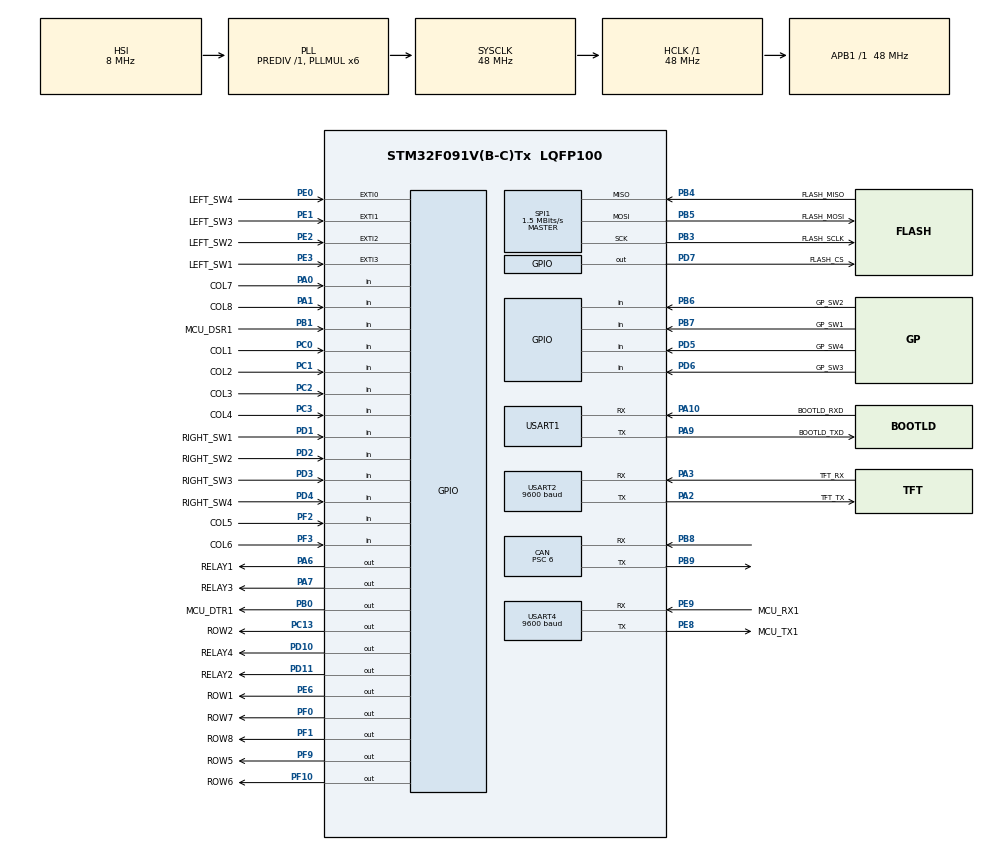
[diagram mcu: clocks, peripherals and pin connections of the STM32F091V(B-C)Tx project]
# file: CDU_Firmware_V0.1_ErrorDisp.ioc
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CAN.BS1=CAN_BS1_13TQ
CAN.BS2=CAN_BS2_2TQ
CAN.CalculateBaudRate=500000
CAN.CalculateTimeBit=2000
CAN.CalculateTimeQuantum=125.0
CAN.Prescaler=6
FREERTOS.Tasks01=defaultTask,24,128,StartDefaultTask,Default,NULL,Dynamic,NULL,NULL
FREERTOS.configTOTAL_HEAP_SIZE=15000
FREERTOS.configUSE_NEWLIB_REENTRANT=1
Mcu.Family=STM32F0
Mcu.Name=STM32F091V(B-C)Tx
Mcu.Package=LQFP100
NVIC.CEC_CAN_IRQn=true\:3\:0\:false\:false\:true\:true\:true\:true\:true
NVIC.EXTI0_1_IRQn=true\:2\:0\:true\:false\:true\:false\:true\:true\:true
NVIC.EXTI2_3_IRQn=true\:2\:0\:true\:false\:true\:false\:true\:true\:true
NVIC.TIM16_IRQn=true\:3\:0\:false\:false\:true\:true\:true\:true\:true
NVIC.TIM17_IRQn=true\:3\:0\:false\:false\:true\:true\:true\:true\:true
NVIC.TIM6_DAC_IRQn=true\:3\:0\:true\:false\:true\:false\:false\:true\:true
NVIC.TimeBase=TIM6_DAC_IRQn
NVIC.TimeBaseIP=TIM6
NVIC.USART3_8_IRQn=true\:3\:0\:true\:false\:true\:true\:true\:true\:true
PA0.GPIO_Label=COL7
PA0.Signal=GPIO_Input
PA1.GPIO_Label=COL8
PA1.Signal=GPIO_Input
PA10.GPIO_Label=BOOTLD_RXD
PA10.Mode=Asynchronous
PA10.Signal=USART1_RX
PA2.GPIO_Label=TFT_TX
PA2.Mode=Asynchronous
PA2.Signal=USART2_TX
PA3.GPIO_Label=TFT_RX
PA3.Mode=Asynchronous
PA3.Signal=USART2_RX
PA6.GPIO_Label=RELAY1
PA6.Signal=GPIO_Output
PA7.GPIO_Label=RELAY3
PA7.Signal=GPIO_Output
PA9.GPIO_Label=BOOTLD_TXD
PA9.Mode=Asynchronous
PA9.Signal=USART1_TX
PB0.GPIO_Label=MCU_DTR1
PB0.Signal=GPIO_Output
PB1.GPIO_Label=MCU_DSR1
PB1.Signal=GPIO_Input
PB3.GPIO_Label=FLASH_SCLK
PB3.Mode=Full_Duplex_Master
PB3.Signal=SPI1_SCK
PB4.GPIO_Label=FLASH_MISO
PB4.Mode=Full_Duplex_Master
PB4.Signal=SPI1_MISO
PB5.GPIO_Label=FLASH_MOSI
PB5.Mode=Full_Duplex_Master
PB5.Signal=SPI1_MOSI
PB6.GPIO_Label=GP_SW2
PB6.Signal=GPIO_Input
PB7.GPIO_Label=GP_SW1
PB7.Signal=GPIO_Input
PB8.Mode=CAN_Activate
PB8.Signal=CAN_RX
PB9.Mode=CAN_Activate
PB9.Signal=CAN_TX
PC0.GPIO_Label=COL1
PC0.Signal=GPIO_Input
PC1.GPIO_Label=COL2
PC1.Signal=GPIO_Input
PC13.GPIO_Label=ROW2
PC13.Signal=GPIO_Output
PC14OSC32_IN.GPIO_Label=ROW3
PC14OSC32_IN.Signal=GPIO_Output
PC15OSC32_OUT.GPIO_Label=ROW4
PC15OSC32_OUT.Signal=GPIO_Output
PC2.GPIO_Label=COL3
PC2.Signal=GPIO_Input
PC3.GPIO_Label=COL4
PC3.Signal=GPIO_Input
PD1.GPIO_Label=RIGHT_SW1
PD1.Signal=GPIO_Input
PD10.GPIO_Label=RELAY4
PD10.Signal=GPIO_Output
PD11.GPIO_Label=RELAY2
PD11.Signal=GPIO_Output
PD2.GPIO_Label=RIGHT_SW2
PD2.Signal=GPIO_Input
PD3.GPIO_Label=RIGHT_SW3
PD3.Signal=GPIO_Input
PD4.GPIO_Label=RIGHT_SW4
PD4.Signal=GPIO_Input
PD5.GPIO_Label=GP_SW4
PD5.Signal=GPIO_Input
PD6.GPIO_Label=GP_SW3
PD6.Signal=GPIO_Input
PD7.GPIO_Label=FLASH_CS
PD7.GPIO_Speed=GPIO_SPEED_FREQ_HIGH
PD7.PinState=GPIO_PIN_SET
PD7.Signal=GPIO_Output
PE0.GPIO_Label=LEFT_SW4
PE0.Signal=GPXTI0
PE1.GPIO_Label=LEFT_SW3
PE1.Signal=GPXTI1
PE2.GPIO_Label=LEFT_SW2
PE2.Signal=GPXTI2
PE3.GPIO_Label=LEFT_SW1
PE3.Signal=GPXTI3
PE6.GPIO_Label=ROW1
PE6.Signal=GPIO_Output
PE8.GPIO_Label=MCU_TX1
PE8.Mode=Asynchronous
PE8.Signal=USART4_TX
PE9.GPIO_Label=MCU_RX1
PE9.Mode=Asynchronous
PE9.Signal=USART4_RX
PF0-OSC_IN.GPIO_Label=ROW7
PF0-OSC_IN.Signal=GPIO_Output
PF1-OSC_OUT.GPIO_Label=ROW8
PF1-OSC_OUT.Signal=GPIO_Output
PF10.GPIO_Label=ROW6
PF10.Signal=GPIO_Output
PF2.GPIO_Label=COL5
PF2.Signal=GPIO_Input
PF3.GPIO_Label=COL6
PF3.Signal=GPIO_Input
PF9.GPIO_Label=ROW5
PF9.Signal=GPIO_Output
ProjectManager.HeapSize=0x200
ProjectManager.StackSize=0x400
ProjectManager.TargetToolchain=STM32CubeIDE
RCC.AHBFreq_Value=48000000
RCC.APB1Freq_Value=48000000
RCC.APB1TimFreq_Value=48000000
RCC.HCLKFreq_Value=48000000
RCC.PLLMUL=RCC_PLL_MUL6
RCC.SYSCLKFreq_VALUE=48000000
RCC.SYSCLKSource=RCC_SYSCLKSOURCE_PLLCLK
RCC.Usart1ClockSelection=RCC_USART1CLKSOURCE_HSI
RCC.Usart2ClockSelection=RCC_USART2CLKSOURCE_HSI
SPI1.BaudRatePrescaler=SPI_BAUDRATEPRESCALER_32
SPI1.CalculateBaudRate=1.5 MBits/s
SPI1.DataSize=SPI_DATASIZE_8BIT
SPI1.Direction=SPI_DIRECTION_2LINES
SPI1.Mode=SPI_MODE_MASTER
SPI1.VirtualType=VM_MASTER
TIM16.Period=29999
TIM16.Prescaler=47999
TIM17.Period=499
TIM17.Prescaler=47999
USART1.VirtualMode-Asynchronous=VM_ASYNC
USART2.BaudRate=9600
USART2.VirtualMode-Asynchronous=VM_ASYNC
USART4.BaudRate=9600
USART4.VirtualMode-Asynchronous=VM_ASYNC
VP_FREERTOS_VS_CMSIS_V2.Mode=CMSIS_V2
VP_SYS_VS_tim6.Mode=TIM6
VP_TIM16_VS_ClockSourceINT.Mode=Enable_Timer
VP_TIM17_VS_ClockSourceINT.Mode=Enable_Timer
board=custom

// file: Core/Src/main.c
/* USER CODE BEGIN Header */
/**
  ******************************************************************************
  * @file           : main.c
  * @brief          : Main program body
  ******************************************************************************
  * @attention
  *
  * Copyright (c) 2024 STMicroelectronics.
  * All rights reserved.
  *
  * This software is licensed under terms that can be found in the LICENSE file
  * in the root directory of this software component.
  * If no LICENSE file comes with this software, it is provided AS-IS.
  *
  ******************************************************************************
  */
#define FREERTOS
/* USER CODE END Header */
#include "main.h"
#include "cmsis_os.h"
#include "can.h"
#include "spi.h"
#include "tim.h"
#include "usart.h"
#include "gpio.h"

/* USER CODE BEGIN Includes */
#include "timer.h"
/* USER CODE END Includes */

void SystemClock_Config(void);
void MX_FREERTOS_Init(void);

int main(void)
{

  /* MCU Configuration--------------------------------------------------------*/

  /* Reset of all peripherals, Initializes the Flash interface and the Systick. */
  HAL_Init();

  /* Configure the system clock */
  SystemClock_Config();

  /* Initialize all configured peripherals */
  MX_GPIO_Init();
  MX_SPI1_Init();
  MX_USART1_UART_Init();
  MX_USART2_UART_Init();
  MX_USART4_UART_Init();
  MX_TIM16_Init();
  MX_TIM17_Init();
  MX_CAN_Init();

//  CAN_Filter_Config();
//
//  if(HAL_CAN_ActivateNotification(&hcan,CAN_IT_RX_FIFO0_MSG_PENDING)!=HAL_OK)
//  {
//	  Error_Handler();
//  }
//
//  if(HAL_CAN_Start(&hcan)!=HAL_OK)
//  {
//	  Error_Handler();
//  }

  /* USER CODE BEGIN 2 */
#ifndef FREERTOS
  /* USER CODE END 2 */

  /* Init scheduler */
  osKernelInitialize();

  /* Call init function for freertos objects (in cmsis_os2.c) */
  MX_FREERTOS_Init();

  /* Start scheduler */
  osKernelStart();

  /* We should never get here as control is now taken by the scheduler */

  /* Infinite loop */
  /* USER CODE BEGIN WHILE */
#else
  /* Call init function for freertos objects (in cmsis_os2.c) */
  MX_FREERTOS_Init();
#endif
  while (1)
  {
    /* USER CODE END WHILE */

  }
}

void SystemClock_Config(void)
{
  RCC_OscInitTypeDef RCC_OscInitStruct = {0};
  RCC_ClkInitTypeDef RCC_ClkInitStruct = {0};
  RCC_PeriphCLKInitTypeDef PeriphClkInit = {0};

  /** Initializes the RCC Oscillators according to the specified parameters
  * in the RCC_OscInitTypeDef structure.
  */
  RCC_OscInitStruct.OscillatorType = RCC_OSCILLATORTYPE_HSI;
  RCC_OscInitStruct.HSIState = RCC_HSI_ON;
  RCC_OscInitStruct.HSICalibrationValue = RCC_HSICALIBRATION_DEFAULT;
  RCC_OscInitStruct.PLL.PLLState = RCC_PLL_ON;
  RCC_OscInitStruct.PLL.PLLSource = RCC_PLLSOURCE_HSI;
  RCC_OscInitStruct.PLL.PLLMUL = RCC_PLL_MUL6;
  RCC_OscInitStruct.PLL.PREDIV = RCC_PREDIV_DIV1;
  if (HAL_RCC_OscConfig(&RCC_OscInitStruct) != HAL_OK)
  {
    Error_Handler();
  }

  /** Initializes the CPU, AHB and APB buses clocks
  */
  RCC_ClkInitStruct.ClockType = RCC_CLOCKTYPE_HCLK|RCC_CLOCKTYPE_SYSCLK
                              |RCC_CLOCKTYPE_PCLK1;
  RCC_ClkInitStruct.SYSCLKSource = RCC_SYSCLKSOURCE_PLLCLK;
  RCC_ClkInitStruct.AHBCLKDivider = RCC_SYSCLK_DIV1;
  RCC_ClkInitStruct.APB1CLKDivider = RCC_HCLK_DIV1;

  if (HAL_RCC_ClockConfig(&RCC_ClkInitStruct, FLASH_LATENCY_1) != HAL_OK)
  {
    Error_Handler();
  }
  PeriphClkInit.PeriphClockSelection = RCC_PERIPHCLK_USART1|RCC_PERIPHCLK_USART2;
  PeriphClkInit.Usart1ClockSelection = RCC_USART1CLKSOURCE_HSI;
  PeriphClkInit.Usart2ClockSelection = RCC_USART2CLKSOURCE_HSI;
  if (HAL_RCCEx_PeriphCLKConfig(&PeriphClkInit) != HAL_OK)
  {
    Error_Handler();
  }
}

void HAL_TIM_PeriodElapsedCallback(TIM_HandleTypeDef *htim)
{
  if (htim->Instance == TIM6) {
    HAL_IncTick();
  }
  /* USER CODE BEGIN Callback 1 */
  if (htim->Instance == TIM16)
  {
	  time_up_notify_tft();
  }
  /* USER CODE END Callback 1 */
}

void Error_Handler(void)
{
  __disable_irq();
  while (1)
  {
  }
}

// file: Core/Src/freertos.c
/* USER CODE BEGIN Header */
/**
  ******************************************************************************
  * File Name          : freertos.c
  * Description        : Code for freertos applications
  ******************************************************************************
  * @attention
  *
  * Copyright (c) 2024 STMicroelectronics.
  * All rights reserved.
  *
  * This software is licensed under terms that can be found in the LICENSE file
  * in the root directory of this software component.
  * If no LICENSE file comes with this software, it is provided AS-IS.
  *
  ******************************************************************************
  */
#define FREERTOS
#ifndef FREERTOS
/* USER CODE END Header */

#include "FreeRTOS.h"
#include "task.h"
#include "main.h"
#include "cmsis_os.h"

/* Definitions for defaultTask */
osThreadId_t defaultTaskHandle;
const osThreadAttr_t defaultTask_attributes = {
  .name = "defaultTask",
  .stack_size = 128 * 4,
  .priority = (osPriority_t) osPriorityNormal,
};

void StartDefaultTask(void *argument);

void MX_FREERTOS_Init(void); /* (MISRA C 2004 rule 8.1) */

void MX_FREERTOS_Init(void) {

  /* Create the thread(s) */
  /* creation of defaultTask */
  defaultTaskHandle = osThreadNew(StartDefaultTask, NULL, &defaultTask_attributes);

}

void StartDefaultTask(void *argument)
{
  for(;;)
  {
    osDelay(1);
  }
}

/* USER CODE BEGIN Application */
#else

/* Includes ------------------------------------------------------------------*/
#include "FreeRTOS.h"
#include "task.h"
#include "queue.h"
#include "semphr.h"
#include "main.h"

#include "TFT_LCD.h"
#include "keyboard.h"
#include "debug_console.h"
#include "serial_1.h"
#include "Comm_bus.h"
#include "data_handler.h"

#define RX_MESSAGE_LENGTH 25
#define QUEUE_LENGTH 6

// Task Size
#define KEYBOARD_STACK_SIZE	256
#define SERIAL1_STACK_SIZE	512
#define COMM_BUS_STACK_SIZE 256
//#define SERIAL2_STACK_SIZE	256
//#define SERIAL3_STACK_SIZE	256
//#define SERIAL4_STACK_SIZE	256
#define TFT_LCD_STACK_SIZE	2048
#define RIGHT_P_STACK_SIZE	256
#if DEBUG_CONSOLE
#define DEBUG_STACK_SIZE	1024
#endif

// Define the queue handle
xQueueHandle xKeyQueue = NULL;
xQueueHandle xuartTXQueue = NULL;
xQueueHandle xuartRXQueue = NULL;
xQueueHandle xcanRXQueue = NULL;
#if DEBUG_CONSOLE
xQueueHandle xDebugQueue = NULL;
#endif

//SemaphoreHandle_t uartRXSemaphoreHandle;

SemaphoreHandle_t xFlashMutex;

/*
 * Function: create_cdu_tasks
 * Arguments: None
 *
 * Description:
 * This function creates various tasks for handling different components of the CDU.
 * It uses the FreeRTOS xTaskCreate function to create tasks for the keyboard, right panel,
 * serial communication with 1553, and TFT LCD display. Additionally, it conditionally creates
 * a debug console task if DEBUG_CONSOLE is enabled.
 *
 * The created tasks include:
 * - KeyBoard Matrix task for handling keyboard inputs.
 * - RIGHT PANEL task for handling right panel key inputs.
 * - Serial 1553 task for serial communication.
 * - TFT_LCD task for display operations.
 * - Debug Console task for debugging purposes (conditionally created).
 */
void create_cdu_tasks(void)
{
//	// Key Board task for handling Keyboard inputs
//	xTaskCreate(keyboard_thread, "Keyboard Matrix", KEYBOARD_STACK_SIZE, (void *)1, 5, NULL);
//	// Right Panel task for handling the Right panel key inputs
//	xTaskCreate(right_panel_thread, "RIGHT PANEL", RIGHT_P_STACK_SIZE,  (void *)1, 5, NULL);
//	// Serial Task to 1553
//	xTaskCreate(serial_1553_thread, "Serial 1553", SERIAL1_STACK_SIZE, (void *) 1, 5, NULL);
//	// A display task
//	xTaskCreate(tft_lcd_thread, "TFT_LCD", TFT_LCD_STACK_SIZE, (void *)1, 5, NULL);

	// Key Board task for handling Keyboard inputs (High priority)
	xTaskCreate(keyboard_thread, "Keyboard Matrix", KEYBOARD_STACK_SIZE, (void *)1, 4, NULL);

	// Right Panel task for handling the Right panel key inputs (Medium-high priority)
	xTaskCreate(right_panel_thread, "RIGHT PANEL", RIGHT_P_STACK_SIZE, (void *)1, 3, NULL);

	// Serial Task to 1553 (Medium priority)
	xTaskCreate(serial_1553_thread, "Serial 1553", SERIAL1_STACK_SIZE, (void *) 1, 2, NULL);

	// A display task (Low priority)
	xTaskCreate(tft_lcd_thread, "TFT_LCD", TFT_LCD_STACK_SIZE, (void *)1, 0, NULL);

	// Can Thread for Comm Bus (Medium priority)
	if(xTaskCreate(Comm_bus_thread, "COMM BUS CAN", COMM_BUS_STACK_SIZE, (void *) 1, 1, NULL) != pdPASS)
		while(1);

#if DEBUG_CONSOLE
	xTaskCreate(debug_console_thread, "Debug Console", DEBUG_STACK_SIZE, (void *)1, 5, NULL);
#endif
}

/*
 * Function: create_cdu_queus
 * Arguments: None
 *
 * Description:
 * This function creates various FreeRTOS queues for handling different components of the CDU.
 * It initializes queues for the keyboard keys, UART transmission indication, and the debug console.
 * It also includes conditional debug prints to check if the queues were created successfully.
 *
 * The created queues include:
 * - xKeyQueue: Queue for the keyboard keys.
 * - xuartTXQueue: Queue for UART transmission indication.
 * - xDebugQueue: Queue for debug messages (conditionally created if DEBUG_CONSOLE is enabled).
 */
void create_cdu_queus(void)
{
	// a queue for the keyboard keys
    xKeyQueue = xQueueCreate(QUEUE_LENGTH, sizeof(char));
#if DEBUG_CONSOLE
	if(xKeyQueue == NULL)
	{
		debug_print("Error: Failed to Create Queue. xKeyQueue \r\n");
	}
#endif
	// serial Transmit queue
	xuartTXQueue = xQueueCreate(QUEUE_LENGTH, sizeof(Identifier));
#if DEBUG_CONSOLE
	if(xuartTXQueue == NULL)
	{
		debug_print("Error: Failed to Create xuartTXQueue. \r\n");
	}
#endif
	// serial Reception queue
	xuartRXQueue = xQueueCreate(QUEUE_LENGTH, RX_MESSAGE_LENGTH + 1);
#if DEBUG_CONSOLE
	if(xuartRXQueue == NULL)
	{
		debug_print("Error: Failed to Create xuartTXQueue. \r\n");
	}
#endif
#if DEBUG_CONSOLE
	xDebugQueue = xQueueCreate(QUEUE_LENGTH, sizeof(char[100]));
	if(xDebugQueue == NULL)
	{
		debug_print("Error: Failed to Create Queue xDebugQueue. \r\n");
	}
#endif

	// CAN Reception queue
	xcanRXQueue = xQueueCreate(QUEUE_LENGTH, CAN_MESSAGE_LENGTH + 1);

}

/*
 * Function: creat_cdu_semaphore
 * Arguments: None
 *
 * Description:
 * This function creates a semaphore for receive indication in the CDU.
 * It initializes the semaphore using `xSemaphoreCreateBinary`. If the
 * creation fails, a debug print statement is executed to indicate the failure
 * when the DEBUG_CONSOLE flag is enabled.
 *
 * - uartRXSemaphoreHandle: Handle to the created binary semaphore.
 */
void creat_cdu_semaphore(void)
{
	//semaphore for Receive indication
//	uartRXSemaphoreHandle = xSemaphoreCreateBinary();
//#if DEBUG_CONSOLE
//	if(uartRXSemaphoreHandle == NULL)
//	{
//		debug_print("Error: Failed to Create uartRXSemaphoreHandle. \r\n");
//	}
//#endif
	// Semaphore for Flash Synchronization
	xFlashMutex = xSemaphoreCreateMutex();
#if DEBUG_CONSOLE
	if(xFlashMutex == NULL)
	{
		debug_print("Error: Failed to Create xFlashMutex. \r\n");
	}
#endif

}

/*
 * Function: MX_FREERTOS_Init
 * Arguments: None
 *
 * Description:
 * This function initializes the FreeRTOS environment for the CDU. It creates
 * the necessary tasks, queues, and semaphores required for operation. After
 * setting up the tasks, queues, and semaphores, it starts the FreeRTOS scheduler.
 *
 * Steps:
 * - Create all the tasks for CDU by calling create_cdu_tasks.
 * - Create the queues for user inputs like the keyboard by calling create_cdu_queus.
 * - Create the semaphores for serial receive and transmission by calling creat_cdu_semaphore.
 * - Start the FreeRTOS scheduler with vTaskStartScheduler.
 */
void MX_FREERTOS_Init(void)
{
	// Create all the tasks for CDU
	create_cdu_tasks();
	// Creates the queue for user inputs like for KeyBoard
	create_cdu_queus();
	// Creates the semaphore for the serial Receive and transmission
	creat_cdu_semaphore();

	// start the scheduler

    vTaskStartScheduler();
}

void vApplicationStackOverflowHook(TaskHandle_t xTask, char *pcTaskName) {
    // Optional: Print the name of the task that caused the overflow (if logging is available)
//    printf("Stack Overflow in Task: %s\n", pcTaskName);

    // Disable interrupts to prevent further execution
    taskDISABLE_INTERRUPTS();

    // Infinite loop to halt execution (useful for debugging)
    while (1) {
        // You can toggle an LED here to indicate a failure if available
    }
}

void vApplicationIdleHook(void)
{
    /* This is the idle task hook function. The idle task runs whenever no other task is ready to run.
       It is often used for low-power modes like sleep or to perform low-priority background tasks.
       In this example, we put the MCU into sleep mode when the system is idle. */

    __WFI();  // Wait for interrupt (puts the MCU in low power mode until the next interrupt occurs)
}

void vApplicationMallocFailedHook(void) {
    printf("Malloc Failed!\n");
    while (1);
}
#endif

/* USER CODE END Application */
